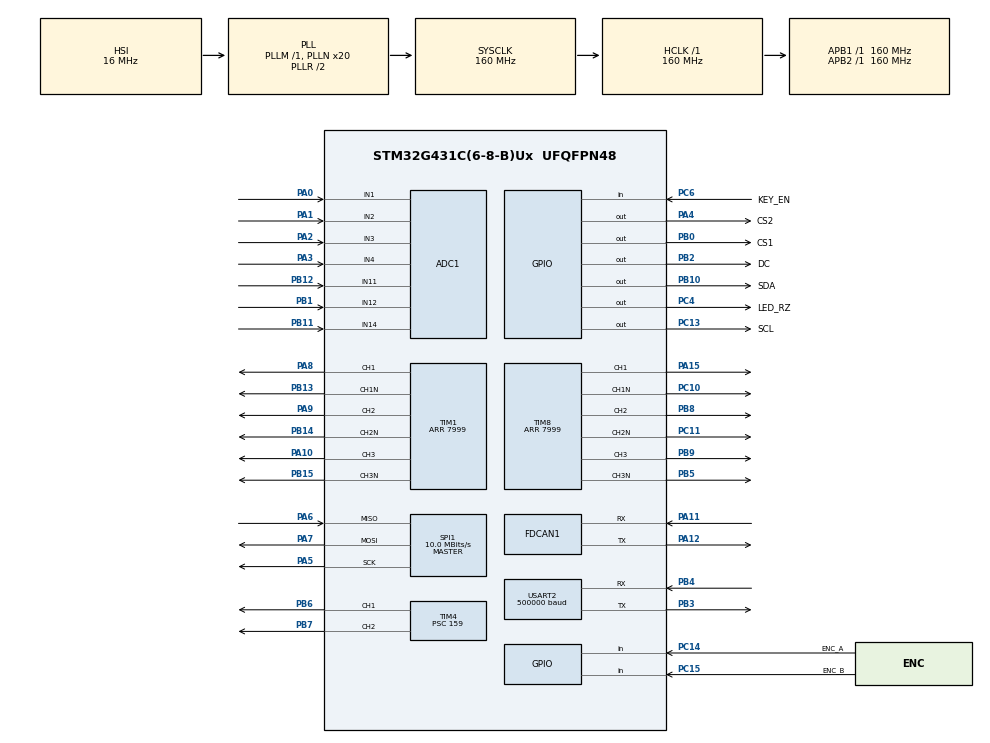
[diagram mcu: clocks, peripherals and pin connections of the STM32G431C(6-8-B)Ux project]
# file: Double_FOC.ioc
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ADC1.Channel-0\#ChannelRegularConversion=ADC_CHANNEL_11
ADC1.Channel-1\#ChannelRegularConversion=ADC_CHANNEL_14
ADC1.Channel-2\#ChannelRegularConversion=ADC_CHANNEL_12
ADC1.Channel-3\#ChannelRegularConversion=ADC_CHANNEL_3
ADC1.Channel-7\#ChannelRegularConversion=ADC_CHANNEL_2
ADC1.Channel-8\#ChannelRegularConversion=ADC_CHANNEL_1
ADC1.Channel-9\#ChannelRegularConversion=ADC_CHANNEL_4
ADC1.ContinuousConvMode=DISABLE
ADC1.DMAContinuousRequests=ENABLE
ADC1.EOCSelection=ADC_EOC_SEQ_CONV
ADC1.ExternalTrigConv=ADC_EXTERNALTRIG_T2_TRGO
ADC1.ExternalTrigConvEdge=ADC_EXTERNALTRIGCONVEDGE_RISING
ADC1.GainCompensation=0
ADC1.NbrOfConversion=7
ADC1.NbrOfConversionFlag=1
ADC1.OffsetNumber-0\#ChannelRegularConversion=ADC_OFFSET_NONE
ADC1.OffsetNumber-1\#ChannelRegularConversion=ADC_OFFSET_NONE
ADC1.OffsetNumber-2\#ChannelRegularConversion=ADC_OFFSET_NONE
ADC1.OffsetNumber-3\#ChannelRegularConversion=ADC_OFFSET_NONE
ADC1.OffsetNumber-7\#ChannelRegularConversion=ADC_OFFSET_NONE
ADC1.OffsetNumber-8\#ChannelRegularConversion=ADC_OFFSET_NONE
ADC1.OffsetNumber-9\#ChannelRegularConversion=ADC_OFFSET_NONE
ADC1.Rank-0\#ChannelRegularConversion=1
ADC1.Rank-1\#ChannelRegularConversion=2
ADC1.Rank-2\#ChannelRegularConversion=3
ADC1.Rank-3\#ChannelRegularConversion=4
ADC1.Rank-7\#ChannelRegularConversion=5
ADC1.Rank-8\#ChannelRegularConversion=6
ADC1.Rank-9\#ChannelRegularConversion=7
ADC1.SamplingTime-0\#ChannelRegularConversion=ADC_SAMPLETIME_12CYCLES_5
ADC1.SamplingTime-1\#ChannelRegularConversion=ADC_SAMPLETIME_12CYCLES_5
ADC1.SamplingTime-2\#ChannelRegularConversion=ADC_SAMPLETIME_12CYCLES_5
ADC1.SamplingTime-3\#ChannelRegularConversion=ADC_SAMPLETIME_12CYCLES_5
ADC1.SamplingTime-7\#ChannelRegularConversion=ADC_SAMPLETIME_12CYCLES_5
ADC1.SamplingTime-8\#ChannelRegularConversion=ADC_SAMPLETIME_12CYCLES_5
ADC1.SamplingTime-9\#ChannelRegularConversion=ADC_SAMPLETIME_12CYCLES_5
ADC1.master=1
Dma.ADC1.0.Direction=DMA_PERIPH_TO_MEMORY
Dma.ADC1.0.EventEnable=DISABLE
Dma.ADC1.0.Instance=DMA1_Channel1
Dma.ADC1.0.MemDataAlignment=DMA_MDATAALIGN_WORD
Dma.ADC1.0.MemInc=DMA_MINC_ENABLE
Dma.ADC1.0.Mode=DMA_CIRCULAR
Dma.ADC1.0.PeriphDataAlignment=DMA_PDATAALIGN_WORD
Dma.ADC1.0.PeriphInc=DMA_PINC_DISABLE
Dma.ADC1.0.Polarity=HAL_DMAMUX_REQ_GEN_RISING
Dma.ADC1.0.Priority=DMA_PRIORITY_HIGH
Dma.ADC1.0.RequestNumber=1
Dma.ADC1.0.SignalID=NONE
Dma.ADC1.0.SyncEnable=DISABLE
Dma.ADC1.0.SyncPolarity=HAL_DMAMUX_SYNC_NO_EVENT
Dma.ADC1.0.SyncRequestNumber=1
Dma.ADC1.0.SyncSignalID=NONE
Dma.Request0=ADC1
Mcu.Family=STM32G4
Mcu.Name=STM32G431C(6-8-B)Ux
Mcu.Package=UFQFPN48
NVIC.DMA1_Channel1_IRQn=true\:0\:0\:false\:false\:true\:false\:true
NVIC.PriorityGroup=NVIC_PRIORITYGROUP_4
NVIC.TIM2_IRQn=true\:0\:0\:false\:false\:true\:true\:true
PA0.Mode=IN1-Single-Ended
PA0.Signal=ADC1_IN1
PA1.Mode=IN2-Single-Ended
PA1.Signal=ADC1_IN2
PA10.Signal=S_TIM1_CH3
PA11.Mode=FDCAN_Activate
PA11.Signal=FDCAN1_RX
PA12.Mode=FDCAN_Activate
PA12.Signal=FDCAN1_TX
PA13.Mode=Serial_Wire
PA13.Signal=SYS_JTMS-SWDIO
PA14.Mode=Serial_Wire
PA14.Signal=SYS_JTCK-SWCLK
PA15.Signal=S_TIM8_CH1
PA2.Mode=IN3-Single-Ended
PA2.Signal=ADC1_IN3
PA3.Mode=IN4-Single-Ended
PA3.Signal=ADC1_IN4
PA4.GPIO_Label=CS2
PA4.GPIO_PuPd=GPIO_PULLUP
PA4.PinState=GPIO_PIN_SET
PA4.Signal=GPIO_Output
PA5.GPIO_Speed=GPIO_SPEED_FREQ_HIGH
PA5.Mode=Full_Duplex_Master
PA5.Signal=SPI1_SCK
PA6.GPIO_Speed=GPIO_SPEED_FREQ_HIGH
PA6.Mode=Full_Duplex_Master
PA6.Signal=SPI1_MISO
PA7.GPIO_Speed=GPIO_SPEED_FREQ_HIGH
PA7.Mode=Full_Duplex_Master
PA7.Signal=SPI1_MOSI
PA8.Signal=S_TIM1_CH1
PA9.Signal=S_TIM1_CH2
PB0.GPIO_Label=CS1
PB0.PinState=GPIO_PIN_SET
PB0.Signal=GPIO_Output
PB1.Mode=IN12-Single-Ended
PB1.Signal=ADC1_IN12
PB10.GPIO_Label=SDA
PB10.GPIO_Speed=GPIO_SPEED_FREQ_LOW
PB10.PinState=GPIO_PIN_SET
PB10.Signal=GPIO_Output
PB11.Mode=IN14-Single-Ended
PB11.Signal=ADC1_IN14
PB12.Mode=IN11-Single-Ended
PB12.Signal=ADC1_IN11
PB13.Mode=PWM Generation1 CH1 CH1N
PB13.Signal=TIM1_CH1N
PB14.Mode=PWM Generation2 CH2 CH2N
PB14.Signal=TIM1_CH2N
PB15.Mode=PWM Generation3 CH3 CH3N
PB15.Signal=TIM1_CH3N
PB2.GPIO_Label=DC
PB2.GPIO_Speed=GPIO_SPEED_FREQ_LOW
PB2.PinState=GPIO_PIN_SET
PB2.Signal=GPIO_Output
PB3.Mode=Multiprocessor_communication
PB3.Signal=USART2_TX
PB4.Mode=Multiprocessor_communication
PB4.Signal=USART2_RX
PB5.Mode=PWM Generation3 CH3 CH3N
PB5.Signal=TIM8_CH3N
PB6.Signal=S_TIM4_CH1
PB7.Signal=S_TIM4_CH2
PB8-BOOT0.Signal=S_TIM8_CH2
PB9.Signal=S_TIM8_CH3
PC10.Mode=PWM Generation1 CH1 CH1N
PC10.Signal=TIM8_CH1N
PC11.Mode=PWM Generation2 CH2 CH2N
PC11.Signal=TIM8_CH2N
PC13.GPIO_Label=SCL
PC13.PinState=GPIO_PIN_SET
PC13.Signal=GPIO_Output
PC14-OSC32_IN.GPIO_Label=ENC_A
PC14-OSC32_IN.GPIO_PuPd=GPIO_PULLUP
PC14-OSC32_IN.Signal=GPIO_Input
PC15-OSC32_OUT.GPIO_Label=ENC_B
PC15-OSC32_OUT.GPIO_PuPd=GPIO_PULLUP
PC15-OSC32_OUT.Signal=GPIO_Input
PC4.GPIO_Label=LED_RZ
PC4.GPIO_Speed=GPIO_SPEED_FREQ_LOW
PC4.PinState=GPIO_PIN_SET
PC4.Signal=GPIO_Output
PC6.GPIO_Label=KEY_EN
PC6.GPIO_PuPd=GPIO_PULLUP
PC6.Signal=GPIO_Input
PF0-OSC_IN.Mode=HSE-External-Oscillator
PF0-OSC_IN.Signal=RCC_OSC_IN
PF1-OSC_OUT.Mode=HSE-External-Oscillator
PF1-OSC_OUT.Signal=RCC_OSC_OUT
ProjectManager.HeapSize=0x200
ProjectManager.StackSize=0x400
ProjectManager.TargetToolchain=STM32CubeIDE
RCC.ADC12Freq_Value=160000000
RCC.AHBFreq_Value=160000000
RCC.APB1Freq_Value=160000000
RCC.APB1TimFreq_Value=160000000
RCC.APB2Freq_Value=160000000
RCC.APB2TimFreq_Value=160000000
RCC.CortexFreq_Value=160000000
RCC.EXTERNAL_CLOCK_VALUE=12288000
RCC.HCLKFreq_Value=160000000
RCC.HSE_VALUE=8000000
RCC.HSI48_VALUE=48000000
RCC.HSI_VALUE=16000000
RCC.LSE_VALUE=32768
RCC.PLLN=20
RCC.RCC_TIM_PRescaler_Selection=RCC_TIMPRES_DESACTIVATED
RCC.SYSCLKFreq_VALUE=160000000
RCC.SYSCLKSource=RCC_SYSCLKSOURCE_PLLCLK
RCC.USBFreq_Value=160000000
RCC.VCOOutputFreq_Value=320000000
SH.S_TIM1_CH1.0=TIM1_CH1,PWM Generation1 CH1 CH1N
SH.S_TIM1_CH2.0=TIM1_CH2,PWM Generation2 CH2 CH2N
SH.S_TIM1_CH3.0=TIM1_CH3,PWM Generation3 CH3 CH3N
SH.S_TIM4_CH1.0=TIM4_CH1,PWM Generation1 CH1
SH.S_TIM4_CH2.0=TIM4_CH2,PWM Generation2 CH2
SH.S_TIM8_CH1.0=TIM8_CH1,PWM Generation1 CH1 CH1N
SH.S_TIM8_CH2.0=TIM8_CH2,PWM Generation2 CH2 CH2N
SH.S_TIM8_CH3.0=TIM8_CH3,PWM Generation3 CH3 CH3N
SPI1.BaudRatePrescaler=SPI_BAUDRATEPRESCALER_16
SPI1.CLKPhase=SPI_PHASE_2EDGE
SPI1.CLKPolarity=SPI_POLARITY_LOW
SPI1.CalculateBaudRate=10.0 MBits/s
SPI1.DataSize=SPI_DATASIZE_16BIT
SPI1.Direction=SPI_DIRECTION_2LINES
SPI1.Mode=SPI_MODE_MASTER
SPI1.VirtualType=VM_MASTER
TIM1.AutoReloadPreload=TIM_AUTORELOAD_PRELOAD_ENABLE
TIM1.Channel-PWM\ Generation1\ CH1\ CH1N=TIM_CHANNEL_1
TIM1.Channel-PWM\ Generation2\ CH2\ CH2N=TIM_CHANNEL_2
TIM1.Channel-PWM\ Generation3\ CH3\ CH3N=TIM_CHANNEL_3
TIM1.CounterMode=TIM_COUNTERMODE_CENTERALIGNED1
TIM1.DeadTime=40
TIM1.DeadTimePreload=ENABLE
TIM1.PeriodNoDither=7999
TIM1.PulseNoDither_1=4000
TIM1.PulseNoDither_2=4000
TIM1.PulseNoDither_3=4000
TIM1.TIM_MasterOutputTrigger=TIM_TRGO_RESET
TIM2.AutoReloadPreload=TIM_AUTORELOAD_PRELOAD_ENABLE
TIM2.CounterMode=TIM_COUNTERMODE_UP
TIM2.PeriodNoDither=15999
TIM2.TIM_MasterOutputTrigger=TIM_TRGO_UPDATE
TIM2.TIM_MasterSlaveMode=TIM_MASTERSLAVEMODE_ENABLE
TIM4.AutoReloadPreload=TIM_AUTORELOAD_PRELOAD_ENABLE
TIM4.Channel-PWM\ Generation1\ CH1=TIM_CHANNEL_1
TIM4.Channel-PWM\ Generation2\ CH2=TIM_CHANNEL_2
TIM4.PeriodNoDither=999
TIM4.Prescaler=159
TIM8.AutoReloadPreload=TIM_AUTORELOAD_PRELOAD_ENABLE
TIM8.Channel-PWM\ Generation1\ CH1\ CH1N=TIM_CHANNEL_1
TIM8.Channel-PWM\ Generation2\ CH2\ CH2N=TIM_CHANNEL_2
TIM8.Channel-PWM\ Generation3\ CH3\ CH3N=TIM_CHANNEL_3
TIM8.CounterMode=TIM_COUNTERMODE_CENTERALIGNED1
TIM8.DeadTime=40
TIM8.DeadTimePreload=ENABLE
TIM8.PeriodNoDither=7999
TIM8.PulseNoDither_1=4000
TIM8.PulseNoDither_2=4000
TIM8.PulseNoDither_3=4000
USART2.BaudRate=500000
USART2.VirtualMode-Multiprocessor_communication=VM_ASYNC
VP_CORDIC_VS_CORDIC.Mode=CORDIC_Activate
VP_SYS_VS_DBSignals.Mode=DisableDeadBatterySignals
VP_TIM1_VS_ClockSourceINT.Mode=Internal
VP_TIM1_VS_ClockSourceITR.Mode=TriggerSource_ITR1
VP_TIM1_VS_ControllerModeReset.Mode=Reset Mode
VP_TIM2_VS_ClockSourceINT.Mode=Internal
VP_TIM4_VS_ClockSourceINT.Mode=Internal
VP_TIM8_VS_ClockSourceINT.Mode=Internal
VP_TIM8_VS_ClockSourceITR.Mode=TriggerSource_ITR1
VP_TIM8_VS_ControllerModeReset.Mode=Reset Mode
board=custom

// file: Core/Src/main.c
/* USER CODE BEGIN Header */
/**
  ******************************************************************************
  * @file           : main.c
  * @brief          : Main program body
  ******************************************************************************
  * @attention
  *
  * <h2><center>&copy; Copyright (c) 2021 STMicroelectronics.
  * All rights reserved.</center></h2>
  *
  * This software component is licensed by ST under BSD 3-Clause license,
  * the "License"; You may not use this file except in compliance with the
  * License. You may obtain a copy of the License at:
  *                        opensource.org/licenses/BSD-3-Clause
  *
  ******************************************************************************
  */
/* USER CODE END Header */
#include "main.h"
#include "adc.h"
#include "cordic.h"
#include "dma.h"
#include "fdcan.h"
#include "spi.h"
#include "tim.h"
#include "usart.h"
#include "gpio.h"

/* USER CODE BEGIN Includes */
#include "lcd_init.h" //lcd物理�????????
#include "lcd.h"      //lcd驱动�????????
#include "ui.h"		  //应用�????????
#include "led_rgb.h"  //彩色led
#include "arm_math.h" //DSP�????????
#include "app_cordic.h" //cordic加�??  好像并不好使  还不如DSP�????????
#include "app_foc.h"  //foc应用�????????
#include "app_input.h"
#include "app_ano.h"

/* USER CODE END Includes */

/* USER CODE BEGIN PV */
int32_t g_foc_cnt = 0;
int32_t g_adc_buff[7];  //adc????{IA1,IB1,IC1,IA2,IB2,IC2,VBUS}
int8_t g_ano_flag = 0;
float ano_data[20];
/* USER CODE END PV */

void SystemClock_Config(void);

int main(void)
{
  /* USER CODE BEGIN 1 */
 	unsigned int main_loop_cnt = 0;
  /* USER CODE END 1 */

  /* MCU Configuration--------------------------------------------------------*/

  /* Reset of all peripherals, Initializes the Flash interface and the Systick. */
  HAL_Init();

  /* Configure the system clock */
  SystemClock_Config();

  /* Initialize all configured peripherals */
  MX_GPIO_Init();
  MX_DMA_Init();
  MX_ADC1_Init();
  MX_FDCAN1_Init();
  MX_TIM1_Init();
  MX_TIM8_Init();
  MX_USART2_UART_Init();
  MX_CORDIC_Init();
  MX_TIM2_Init();
  MX_TIM4_Init();
  MX_SPI1_Init();
  /* USER CODE BEGIN 2 */
  input_init();
  HAL_TIM_PWM_Start(&htim1, TIM_CHANNEL_1);
  HAL_TIM_PWM_Start(&htim1, TIM_CHANNEL_2);
  HAL_TIM_PWM_Start(&htim1, TIM_CHANNEL_3);
  HAL_TIMEx_PWMN_Start(&htim1, TIM_CHANNEL_1);
  HAL_TIMEx_PWMN_Start(&htim1, TIM_CHANNEL_2);
  HAL_TIMEx_PWMN_Start(&htim1, TIM_CHANNEL_3);

  HAL_TIM_PWM_Start(&htim8, TIM_CHANNEL_1);
  HAL_TIM_PWM_Start(&htim8, TIM_CHANNEL_2);
  HAL_TIM_PWM_Start(&htim8, TIM_CHANNEL_3);
  HAL_TIMEx_PWMN_Start(&htim8, TIM_CHANNEL_1);
  HAL_TIMEx_PWMN_Start(&htim8, TIM_CHANNEL_2);
  HAL_TIMEx_PWMN_Start(&htim8, TIM_CHANNEL_3);

  HAL_ADC_Start_DMA(&hadc1, g_adc_buff, 7); //�?????????启ADC DMA

  HAL_TIM_PWM_Start(&htim4, TIM_CHANNEL_1);
  HAL_TIM_PWM_Start(&htim4, TIM_CHANNEL_2);
  __HAL_TIM_SetCompare(&htim4, TIM_CHANNEL_1, 500);	//蜂鸣�?????????	未使�?????????
  __HAL_TIM_SetCompare(&htim4, TIM_CHANNEL_2, 1000);	//显示屏背�?????????
  LCD_Init();	//LCD初始�?????????
  LCD_Fill(0,0,LCD_W,LCD_H,BLACK);
  main_ui(g_adc_buff);
  np_foc_init(&np1,&np2);
  HAL_TIM_Base_Start_IT(&htim2);	//触发TIM1,TIM8,ADC,定时器中�????????
  /* USER CODE END 2 */

  /* Infinite loop */
  while (1)
  {

    /* USER CODE BEGIN 3 */
//	 led_set(g_adc_buff);

#if 1
	 if(g_ano_flag != 0)
	 {
		 g_ano_flag = 0;
		 ano_data[0] = np2.expect_current.A;
		 ano_data[1] = np2.expect_current.B;
		 ano_data[2] = np2.expect_current.C;
		 ano_data[3] = np2.feedback.current.A;
		 ano_data[4] = np2.feedback.current.B;
		 ano_data[5] = np2.feedback.current.C;
		 ano_data[6] = (float)np2.feedback.motion_state.angle;
		 ano_data[7] = (float)np2.feedback.motion_state.speed;

		 ano_send(ano_data, 8);
	 }
#endif
//	 HAL_Delay(10);
  }
  /* USER CODE END 3 */
}

void SystemClock_Config(void)
{
  RCC_OscInitTypeDef RCC_OscInitStruct = {0};
  RCC_ClkInitTypeDef RCC_ClkInitStruct = {0};
  RCC_PeriphCLKInitTypeDef PeriphClkInit = {0};

  /** Configure the main internal regulator output voltage
  */
  HAL_PWREx_ControlVoltageScaling(PWR_REGULATOR_VOLTAGE_SCALE1_BOOST);
  /** Initializes the RCC Oscillators according to the specified parameters
  * in the RCC_OscInitTypeDef structure.
  */
  RCC_OscInitStruct.OscillatorType = RCC_OSCILLATORTYPE_HSI;
  RCC_OscInitStruct.HSIState = RCC_HSI_ON;
  RCC_OscInitStruct.HSICalibrationValue = RCC_HSICALIBRATION_DEFAULT;
  RCC_OscInitStruct.PLL.PLLState = RCC_PLL_ON;
  RCC_OscInitStruct.PLL.PLLSource = RCC_PLLSOURCE_HSI;
  RCC_OscInitStruct.PLL.PLLM = RCC_PLLM_DIV1;
  RCC_OscInitStruct.PLL.PLLN = 20;
  RCC_OscInitStruct.PLL.PLLP = RCC_PLLP_DIV2;
  RCC_OscInitStruct.PLL.PLLQ = RCC_PLLQ_DIV2;
  RCC_OscInitStruct.PLL.PLLR = RCC_PLLR_DIV2;
  if (HAL_RCC_OscConfig(&RCC_OscInitStruct) != HAL_OK)
  {
    Error_Handler();
  }
  /** Initializes the CPU, AHB and APB buses clocks
  */
  RCC_ClkInitStruct.ClockType = RCC_CLOCKTYPE_HCLK|RCC_CLOCKTYPE_SYSCLK
                              |RCC_CLOCKTYPE_PCLK1|RCC_CLOCKTYPE_PCLK2;
  RCC_ClkInitStruct.SYSCLKSource = RCC_SYSCLKSOURCE_PLLCLK;
  RCC_ClkInitStruct.AHBCLKDivider = RCC_SYSCLK_DIV1;
  RCC_ClkInitStruct.APB1CLKDivider = RCC_HCLK_DIV1;
  RCC_ClkInitStruct.APB2CLKDivider = RCC_HCLK_DIV1;

  if (HAL_RCC_ClockConfig(&RCC_ClkInitStruct, FLASH_LATENCY_4) != HAL_OK)
  {
    Error_Handler();
  }
  /** Initializes the peripherals clocks
  */
  PeriphClkInit.PeriphClockSelection = RCC_PERIPHCLK_USART2|RCC_PERIPHCLK_ADC12
                              |RCC_PERIPHCLK_FDCAN;
  PeriphClkInit.Usart2ClockSelection = RCC_USART2CLKSOURCE_PCLK1;
  PeriphClkInit.FdcanClockSelection = RCC_FDCANCLKSOURCE_PCLK1;
  PeriphClkInit.Adc12ClockSelection = RCC_ADC12CLKSOURCE_SYSCLK;
  if (HAL_RCCEx_PeriphCLKConfig(&PeriphClkInit) != HAL_OK)
  {
    Error_Handler();
  }
}

void Error_Handler(void)
{
  __disable_irq();
  while (1)
  {
  }
}

/************************ (C) COPYRIGHT STMicroelectronics *****END OF FILE****/
